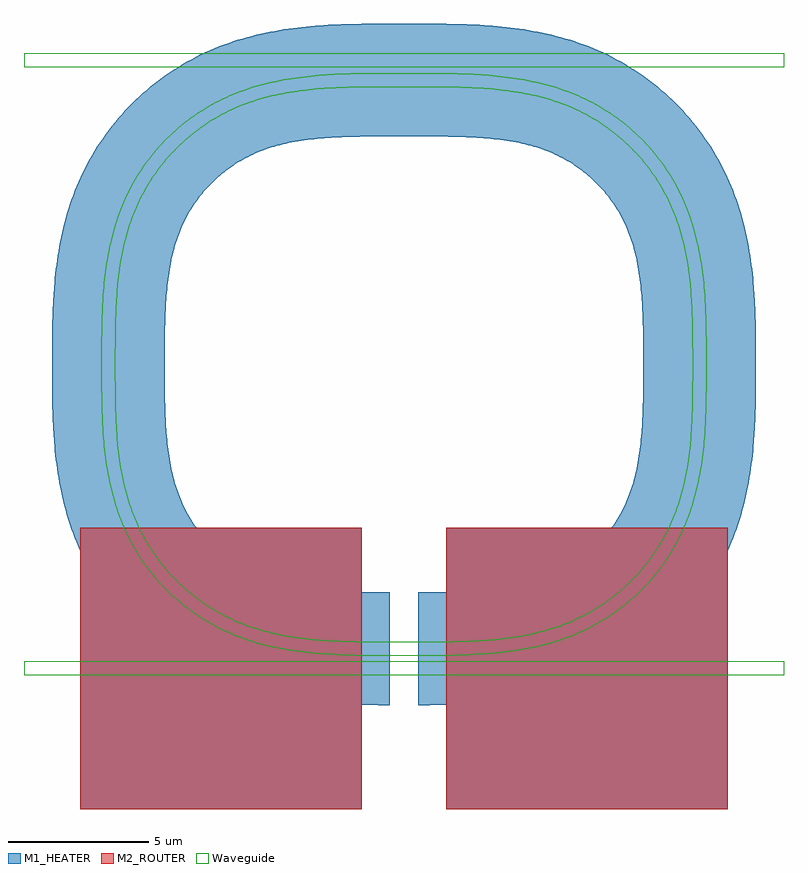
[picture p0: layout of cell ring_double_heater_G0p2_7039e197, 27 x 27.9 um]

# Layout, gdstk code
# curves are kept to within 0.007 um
from math import pi, radians
import gdstk
lib = gdstk.Library(unit=1e-6, precision=1e-09)
def R(c, l, rs):  # rectangles x0, y0, x1, y1
    for r in rs: c.add(gdstk.rectangle(r[:2], r[2:], *l))
def P(c, l, *ps):  # polygons
    for p in ps: c.add(gdstk.Polygon(p, *l))
Waveguide = (1, 0)
M1_HEATER = (11, 0)
M2_ROUTER = (12, 0)

bend_euler_r10_a90_p0p5_ = lib.new_cell('bend_euler_R10_A90_P0p5_8747be7e')
P(bend_euler_r10_a90_p0p5_, Waveguide, [(0,-0.25),(0,0.25),(0.83,0.252),(1.655,0.269),(2.338,0.305),(2.881,0.353),(3.42,0.424),(3.952,0.52),(4.477,0.647),(4.99,0.806),(5.365,0.949),(5.731,1.113),(6.087,1.299),(6.431,1.505),(6.762,1.731),(7.079,1.976),(7.283,2.15),(7.575,2.425),(7.85,2.717),(8.024,2.921),(8.269,3.238),(8.495,3.569),(8.701,3.913),(8.887,4.269),(9.051,4.635),(9.194,5.01),(9.353,5.523),(9.48,6.048),(9.576,6.58),(9.647,7.119),(9.695,7.662),(9.731,8.345),(9.748,9.17),(9.75,10),(10.25,10),(10.235,8.468),(10.203,7.767),(10.158,7.205),(10.091,6.644),(10.023,6.224),(9.907,5.668),(9.797,5.254),(9.618,4.711),(9.457,4.312),(9.273,3.922),(9.066,3.545),(8.756,3.061),(8.5,2.715),(8.224,2.385),(7.928,2.072),(7.615,1.776),(7.285,1.5),(6.939,1.244),(6.455,0.934),(6.078,0.727),(5.688,0.543),(5.289,0.382),(4.746,0.203),(4.332,0.093),(3.776,-0.023),(3.356,-0.091),(2.795,-0.158),(2.233,-0.203),(1.532,-0.235)])
P(bend_euler_r10_a90_p0p5_, M1_HEATER, [(0,-2),(0,2),(1.208,2.008),(1.968,2.035),(2.692,2.093),(3.152,2.153),(3.485,2.211),(3.806,2.281),(4.116,2.363),(4.603,2.528),(5.056,2.732),(5.318,2.875),(5.57,3.033),(5.892,3.267),(6.194,3.525),(6.475,3.806),(6.794,4.187),(7.021,4.513),(7.222,4.856),(7.395,5.213),(7.542,5.588),(7.637,5.884),(7.767,6.407),(7.847,6.848),(7.907,7.308),(7.949,7.786),(7.982,8.407),(7.998,9.186),(8,10),(12,10),(11.996,9.005),(11.979,8.266),(11.95,7.657),(11.9,7.034),(11.8,6.236),(11.715,5.75),(11.567,5.094),(11.427,4.599),(11.259,4.103),(11.06,3.61),(10.832,3.128),(10.576,2.66),(10.293,2.207),(9.983,1.773),(9.649,1.357),(9.166,0.834),(8.643,0.351),(8.227,0.017),(7.793,-0.293),(7.34,-0.576),(6.872,-0.832),(6.39,-1.06),(5.897,-1.259),(5.401,-1.427),(4.906,-1.567),(4.25,-1.715),(3.764,-1.8),(2.966,-1.9),(2.343,-1.95),(1.734,-1.979),(0.995,-1.996)])

straight_l10_n2_csstrip = lib.new_cell('straight_L10_N2_CSstrip')
R(straight_l10_n2_csstrip, Waveguide, [(0,-0.25,10,0.25)])

coupler90_g0p2_r10_bben_ = lib.new_cell('coupler90_G0p2_R10_Bben_88759a05')
coupler90_g0p2_r10_bben_.add(gdstk.Reference(bend_euler_r10_a90_p0p5_, (0,0.7)))
coupler90_g0p2_r10_bben_.add(gdstk.Reference(straight_l10_n2_csstrip, (0,0)))

straight_l1_n2_csstrip = lib.new_cell('straight_L1_N2_CSstrip')
R(straight_l1_n2_csstrip, Waveguide, [(0,-0.25,1,0.25)])

coupler_straight_l1_g0p2 = lib.new_cell('coupler_straight_L1_G0p2_CSstrip')
coupler_straight_l1_g0p2.add(gdstk.Reference(straight_l1_n2_csstrip, (0,0.7)))
coupler_straight_l1_g0p2.add(gdstk.Reference(straight_l1_n2_csstrip, (0,0)))

straight_l3_n2_csstrip = lib.new_cell('straight_L3_N2_CSstrip')
R(straight_l3_n2_csstrip, Waveguide, [(0,-0.25,3,0.25)])

coupler_ring_g0p2_r10_l_ = lib.new_cell('coupler_ring_G0p2_R10_L_f54abb4f')
coupler_ring_g0p2_r10_l_.add(gdstk.Reference(coupler90_g0p2_r10_bben_, (-1,0), rotation=pi, x_reflection=True))
coupler_ring_g0p2_r10_l_.add(gdstk.Reference(coupler90_g0p2_r10_bben_, (0,0)))
coupler_ring_g0p2_r10_l_.add(gdstk.Reference(coupler_straight_l1_g0p2, (-1,0)))
coupler_ring_g0p2_r10_l_.add(gdstk.Reference(straight_l3_n2_csstrip, (-14,0)))
coupler_ring_g0p2_r10_l_.add(gdstk.Reference(straight_l3_n2_csstrip, (10,0)))

straight_l0p2_n2_csstri_ = lib.new_cell('straight_L0p2_N2_CSstri_22a2ad27')
R(straight_l0p2_n2_csstri_, Waveguide, [(0,-0.25,0.2,0.25)])
R(straight_l0p2_n2_csstri_, M1_HEATER, [(0,-2,0.2,2)])

straight_l1_n2_csheater_ = lib.new_cell('straight_L1_N2_CSheater_metal')
R(straight_l1_n2_csheater_, M1_HEATER, [(0,-2,1,2)])

compass_s10_10_lm1_heat_ = lib.new_cell('compass_S10_10_LM1_HEAT_e3a5469a')
R(compass_s10_10_lm1_heat_, M1_HEATER, [(-5,-5,5,5)])

compass_s10_10_lm2_rout_ = lib.new_cell('compass_S10_10_LM2_ROUT_b8249cf0')
R(compass_s10_10_lm2_rout_, M2_ROUTER, [(-5,-5,5,5)])

via_stack_s10_10_lm1_he_ = lib.new_cell('via_stack_S10_10_LM1_HE_f3e2bc80')
via_stack_s10_10_lm1_he_.add(gdstk.Reference(compass_s10_10_lm1_heat_, (0,0)))
via_stack_s10_10_lm1_he_.add(gdstk.Reference(compass_s10_10_lm2_rout_, (0,0)))

ring_double_heater_g0p2_ = lib.new_cell('ring_double_heater_G0p2_7039e197')
ring_double_heater_g0p2_.add(gdstk.Reference(coupler_ring_g0p2_r10_l_, (0,0)))
ring_double_heater_g0p2_.add(gdstk.Reference(straight_l0p2_n2_csstri_, (-11,10.7), rotation=pi/2))
ring_double_heater_g0p2_.add(gdstk.Reference(straight_l0p2_n2_csstri_, (10,10.7), rotation=pi/2))
ring_double_heater_g0p2_.add(gdstk.Reference(coupler_ring_g0p2_r10_l_, (-1,21.6), rotation=pi))
ring_double_heater_g0p2_.add(gdstk.Reference(straight_l1_n2_csheater_, (-1,20.9)))
ring_double_heater_g0p2_.add(gdstk.Reference(via_stack_s10_10_lm1_he_, (-7,0)))
ring_double_heater_g0p2_.add(gdstk.Reference(via_stack_s10_10_lm1_he_, (6,0)))

lib.write_gds('ring_double_heater_G0p2_7039e197.gds')
